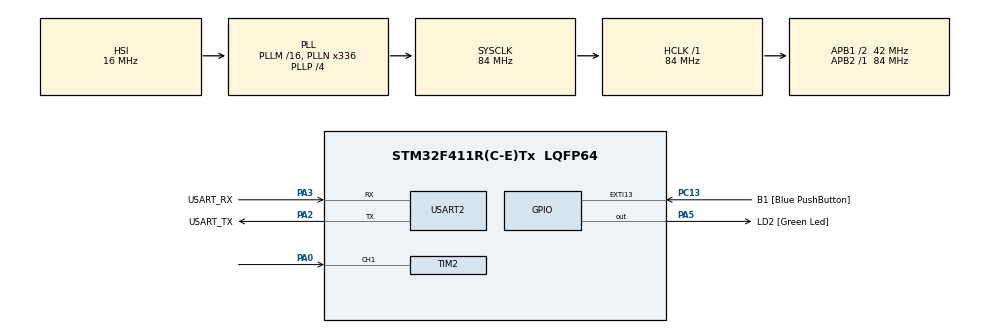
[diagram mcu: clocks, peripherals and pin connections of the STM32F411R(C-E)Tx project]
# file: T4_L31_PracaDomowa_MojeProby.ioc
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Mcu.Family=STM32F4
Mcu.Name=STM32F411R(C-E)Tx
Mcu.Package=LQFP64
NVIC.PriorityGroup=NVIC_PRIORITYGROUP_0
NVIC.TIM1_UP_TIM10_IRQn=true\:0\:0\:false\:true\:true\:1\:true\:true\:true
NVIC.TIM2_IRQn=true\:0\:0\:false\:true\:true\:2\:true\:true\:true
PA0-WKUP.GPIO_PuPd=GPIO_PULLUP
PA0-WKUP.Signal=S_TIM2_CH1_ETR
PA13.GPIO_Label=TMS
PA13.Mode=Serial_Wire
PA13.Signal=SYS_JTMS-SWDIO
PA14.GPIO_Label=TCK
PA14.Mode=Serial_Wire
PA14.Signal=SYS_JTCK-SWCLK
PA2.GPIO_Label=USART_TX
PA2.Mode=Asynchronous
PA2.Signal=USART2_TX
PA3.GPIO_Label=USART_RX
PA3.Mode=Asynchronous
PA3.Signal=USART2_RX
PA5.GPIO_Label=LD2 [Green Led]
PA5.Signal=GPIO_Output
PB3.GPIO_Label=SWO
PB3.Signal=SYS_JTDO-SWO
PC13-ANTI_TAMP.GPIO_Label=B1 [Blue PushButton]
PC13-ANTI_TAMP.GPIO_ModeDefaultEXTI=GPIO_MODE_IT_FALLING
PC13-ANTI_TAMP.Signal=GPXTI13
PC14-OSC32_IN.Mode=LSE-External-Oscillator
PC14-OSC32_IN.Signal=RCC_OSC32_IN
PC15-OSC32_OUT.Mode=LSE-External-Oscillator
PC15-OSC32_OUT.Signal=RCC_OSC32_OUT
PH0\ -\ OSC_IN.Mode=HSE-External-Clock-Source
PH0\ -\ OSC_IN.Signal=RCC_OSC_IN
PH1\ -\ OSC_OUT.Mode=HSE-External-Clock-Source
PH1\ -\ OSC_OUT.Signal=RCC_OSC_OUT
ProjectManager.HeapSize=0x200
ProjectManager.StackSize=0x400
ProjectManager.TargetToolchain=STM32CubeIDE
RCC.48MHZClocksFreq_Value=84000000
RCC.AHBFreq_Value=84000000
RCC.APB1CLKDivider=RCC_HCLK_DIV2
RCC.APB1Freq_Value=42000000
RCC.APB1TimFreq_Value=84000000
RCC.APB2Freq_Value=84000000
RCC.APB2TimFreq_Value=84000000
RCC.CortexFreq_Value=84000000
RCC.FLatency-AdvancedSettings=FLASH_LATENCY_2
RCC.HCLKFreq_Value=84000000
RCC.HSE_VALUE=8000000
RCC.HSI_VALUE=16000000
RCC.PLLN=336
RCC.PLLP=RCC_PLLP_DIV4
RCC.SYSCLKFreq_VALUE=84000000
RCC.SYSCLKSource=RCC_SYSCLKSOURCE_PLLCLK
RCC.VCOOutputFreq_Value=336000000
SH.S_TIM2_CH1_ETR.0=TIM2_CH1,Input_Capture1_from_TI1
TIM1.Period=9999
TIM1.Prescaler=8399
TIM2.Channel-Input_Capture1_from_TI1=TIM_CHANNEL_1
TIM2.Channel-Input_Capture2_from_TI1_63=TIM_CHANNEL_2
TIM2.ICPolarity_CH1=TIM_INPUTCHANNELPOLARITY_FALLING
TIM2.Period=9999
TIM2.Prescaler=8399
USART2.VirtualMode=VM_ASYNC
VP_TIM1_VS_ClockSourceINT.Mode=Internal
VP_TIM2_VS_ClockSourceINT.Mode=Internal
VP_TIM2_VS_indirect_ch1.Mode=Input_Capture2_from_TI1_63
board=NUCLEO-F411RE

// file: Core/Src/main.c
/* USER CODE BEGIN Header */
/**
  ******************************************************************************
  * @file           : main.c
  * @brief          : Main program body
  ******************************************************************************
  * @attention
  *
  * Copyright (c) 2022 STMicroelectronics.
  * All rights reserved.
  *
  * This software is licensed under terms that can be found in the LICENSE file
  * in the root directory of this software component.
  * If no LICENSE file comes with this software, it is provided AS-IS.
  *
  ******************************************************************************
  */
/* USER CODE END Header */
#include "main.h"
#include "tim.h"
#include "usart.h"
#include "gpio.h"

/* USER CODE BEGIN PV */
volatile uint16_t TimerCounterDown;
volatile uint16_t TimerCounterUp;

/* USER CODE END PV */

void SystemClock_Config(void);
static void MX_NVIC_Init(void);

int main(void)
{

  /* MCU Configuration--------------------------------------------------------*/

  /* Reset of all peripherals, Initializes the Flash interface and the Systick. */
  HAL_Init();

  /* Configure the system clock */
  SystemClock_Config();

  /* Initialize all configured peripherals */
  MX_GPIO_Init();
  MX_USART2_UART_Init();
  MX_TIM1_Init();
  MX_TIM2_Init();

  /* Initialize interrupts */
  MX_NVIC_Init();
  /* USER CODE BEGIN 2 */
  HAL_TIM_Base_Start_IT(&htim1);
  HAL_TIM_IC_Start_IT(&htim2, TIM_CHANNEL_1);
  HAL_TIM_IC_Start_IT(&htim2, TIM_CHANNEL_2);
  /* USER CODE END 2 */

  /* Infinite loop */
  while (1)
  {

  }
}

void SystemClock_Config(void)
{
  RCC_OscInitTypeDef RCC_OscInitStruct = {0};
  RCC_ClkInitTypeDef RCC_ClkInitStruct = {0};

  /** Configure the main internal regulator output voltage
  */
  __HAL_RCC_PWR_CLK_ENABLE();
  __HAL_PWR_VOLTAGESCALING_CONFIG(PWR_REGULATOR_VOLTAGE_SCALE1);

  /** Initializes the RCC Oscillators according to the specified parameters
  * in the RCC_OscInitTypeDef structure.
  */
  RCC_OscInitStruct.OscillatorType = RCC_OSCILLATORTYPE_HSI;
  RCC_OscInitStruct.HSIState = RCC_HSI_ON;
  RCC_OscInitStruct.HSICalibrationValue = RCC_HSICALIBRATION_DEFAULT;
  RCC_OscInitStruct.PLL.PLLState = RCC_PLL_ON;
  RCC_OscInitStruct.PLL.PLLSource = RCC_PLLSOURCE_HSI;
  RCC_OscInitStruct.PLL.PLLM = 16;
  RCC_OscInitStruct.PLL.PLLN = 336;
  RCC_OscInitStruct.PLL.PLLP = RCC_PLLP_DIV4;
  RCC_OscInitStruct.PLL.PLLQ = 4;
  if (HAL_RCC_OscConfig(&RCC_OscInitStruct) != HAL_OK)
  {
    Error_Handler();
  }

  /** Initializes the CPU, AHB and APB buses clocks
  */
  RCC_ClkInitStruct.ClockType = RCC_CLOCKTYPE_HCLK|RCC_CLOCKTYPE_SYSCLK
                              |RCC_CLOCKTYPE_PCLK1|RCC_CLOCKTYPE_PCLK2;
  RCC_ClkInitStruct.SYSCLKSource = RCC_SYSCLKSOURCE_PLLCLK;
  RCC_ClkInitStruct.AHBCLKDivider = RCC_SYSCLK_DIV1;
  RCC_ClkInitStruct.APB1CLKDivider = RCC_HCLK_DIV2;
  RCC_ClkInitStruct.APB2CLKDivider = RCC_HCLK_DIV1;

  if (HAL_RCC_ClockConfig(&RCC_ClkInitStruct, FLASH_LATENCY_2) != HAL_OK)
  {
    Error_Handler();
  }
}

/**
  * @brief NVIC Configuration.
  * @retval None
  */
static void MX_NVIC_Init(void)
{
  /* TIM1_UP_TIM10_IRQn interrupt configuration */
  HAL_NVIC_SetPriority(TIM1_UP_TIM10_IRQn, 0, 0);
  HAL_NVIC_EnableIRQ(TIM1_UP_TIM10_IRQn);
  /* TIM2_IRQn interrupt configuration */
  HAL_NVIC_SetPriority(TIM2_IRQn, 0, 0);
  HAL_NVIC_EnableIRQ(TIM2_IRQn);
}

/* USER CODE BEGIN 4 */
void HAL_TIM_PeriodElapsedCallback(TIM_HandleTypeDef *htim)
{
	if(htim->Instance == TIM1)
	{
		HAL_GPIO_TogglePin(LD2_GPIO_Port,LD2_Pin);
	}
}

void HAL_TIM_IC_CaptureCallback(TIM_HandleTypeDef *htim)
{
	if(htim->Instance == TIM2)
	{
		if(htim->Channel == HAL_TIM_ACTIVE_CHANNEL_1)
		{
			TimerCounterDown = __HAL_TIM_GET_COMPARE(htim, TIM_CHANNEL_1);
			HAL_TIM_IC_Start_IT(htim, TIM_CHANNEL_1);

		}

		if(htim->Channel == HAL_TIM_ACTIVE_CHANNEL_2)
		{
			TimerCounterUp = __HAL_TIM_GET_COMPARE(htim, TIM_CHANNEL_2);
			HAL_TIM_IC_Start_IT(htim, TIM_CHANNEL_2);
		}
	}
}
/* USER CODE END 4 */

void Error_Handler(void)
{
  __disable_irq();
  while (1)
  {
  }
}
